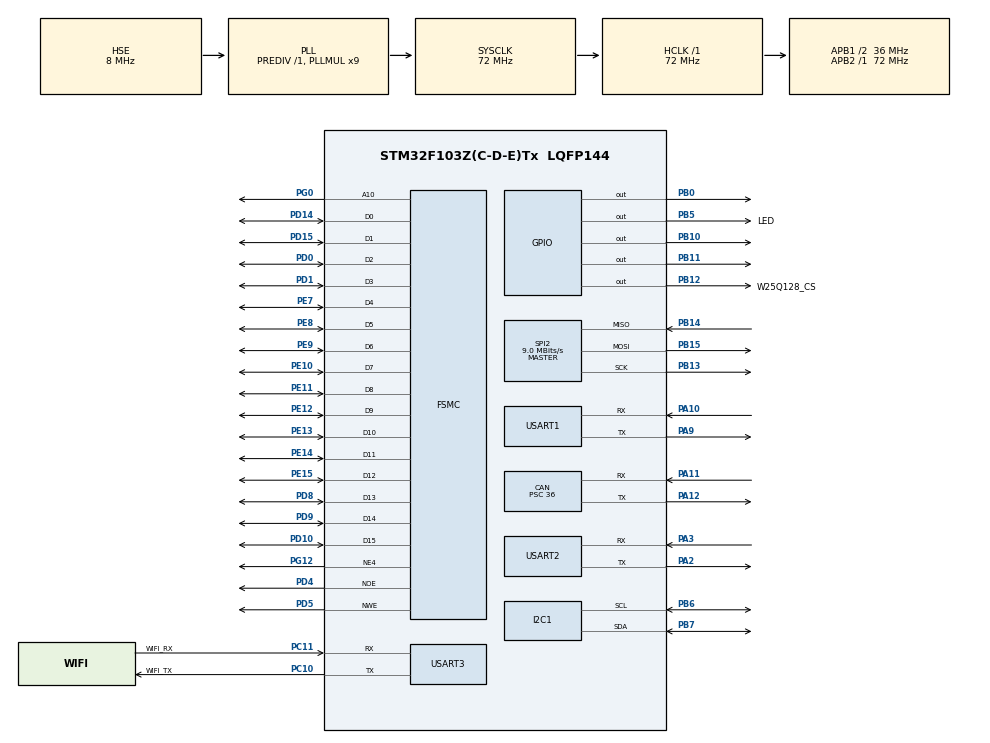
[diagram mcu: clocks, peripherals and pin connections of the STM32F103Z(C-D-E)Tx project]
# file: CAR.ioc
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CAN.ABOM=ENABLE
CAN.AWUM=ENABLE
CAN.BS1=CAN_BS1_2TQ
CAN.BS2=CAN_BS2_3TQ
CAN.CalculateBaudRate=166666
CAN.CalculateTimeBit=6000
CAN.CalculateTimeQuantum=1000.0
CAN.Mode=CAN_MODE_NORMAL
CAN.Prescaler=36
Dma.Request0=USART3_RX
Dma.USART3_RX.0.Direction=DMA_PERIPH_TO_MEMORY
Dma.USART3_RX.0.Instance=DMA1_Channel3
Dma.USART3_RX.0.MemDataAlignment=DMA_MDATAALIGN_BYTE
Dma.USART3_RX.0.MemInc=DMA_MINC_ENABLE
Dma.USART3_RX.0.Mode=DMA_NORMAL
Dma.USART3_RX.0.PeriphDataAlignment=DMA_PDATAALIGN_BYTE
Dma.USART3_RX.0.PeriphInc=DMA_PINC_DISABLE
Dma.USART3_RX.0.Priority=DMA_PRIORITY_LOW
FREERTOS.Tasks01=defaultTask,24,128,StartDefaultTask,Default,NULL,Dynamic,NULL,NULL
FREERTOS.configTOTAL_HEAP_SIZE=32000
FREERTOS.configUSE_IDLE_HOOK=1
FSMC.AddressSetupTime1=0
FSMC.BusTurnAroundDuration1=0
FSMC.DataSetupTime1=26
FSMC.ExtendedAddressSetupTime1=0
FSMC.ExtendedBusTurnAroundDuration1=0
FSMC.ExtendedDataSetupTime1=1
FSMC.ExtendedMode1=FSMC_EXTENDED_MODE_ENABLE
Mcu.Family=STM32F1
Mcu.Name=STM32F103Z(C-D-E)Tx
Mcu.Package=LQFP144
NVIC.CAN1_RX1_IRQn=true\:6\:0\:true\:false\:true\:true\:true\:true\:true
NVIC.DMA1_Channel3_IRQn=true\:5\:0\:false\:false\:true\:true\:false\:true\:true
NVIC.PriorityGroup=NVIC_PRIORITYGROUP_4
NVIC.TIM4_IRQn=true\:15\:0\:false\:false\:true\:false\:false\:true\:true
NVIC.TimeBase=TIM4_IRQn
NVIC.TimeBaseIP=TIM4
NVIC.USART1_IRQn=true\:8\:0\:true\:false\:true\:true\:true\:true\:true
NVIC.USART2_IRQn=true\:9\:0\:true\:false\:true\:true\:true\:true\:true
NVIC.USART3_IRQn=true\:6\:0\:true\:false\:true\:true\:true\:true\:true
NVIC.USB_LP_CAN1_RX0_IRQn=true\:6\:0\:true\:false\:true\:true\:true\:true\:true
OSC_IN.Mode=HSE-External-Oscillator
OSC_IN.Signal=RCC_OSC_IN
OSC_OUT.Mode=HSE-External-Oscillator
OSC_OUT.Signal=RCC_OSC_OUT
PA10.Mode=Asynchronous
PA10.Signal=USART1_RX
PA11.Mode=CAN_Activate
PA11.Signal=CAN_RX
PA12.Mode=CAN_Activate
PA12.Signal=CAN_TX
PA13.Mode=Serial_Wire
PA13.Signal=SYS_JTMS-SWDIO
PA14.Mode=Serial_Wire
PA14.Signal=SYS_JTCK-SWCLK
PA2.Mode=Asynchronous
PA2.Signal=USART2_TX
PA3.Mode=Asynchronous
PA3.Signal=USART2_RX
PA9.Mode=Asynchronous
PA9.Signal=USART1_TX
PB0.GPIO_Speed=GPIO_SPEED_FREQ_HIGH
PB0.Signal=GPIO_Output
PB10.GPIO_ModeDefaultOutputPP=GPIO_MODE_OUTPUT_OD
PB10.GPIO_PuPd=GPIO_PULLUP
PB10.GPIO_Speed=GPIO_SPEED_FREQ_HIGH
PB10.PinState=GPIO_PIN_SET
PB10.Signal=GPIO_Output
PB11.GPIO_ModeDefaultOutputPP=GPIO_MODE_OUTPUT_OD
PB11.GPIO_PuPd=GPIO_PULLUP
PB11.GPIO_Speed=GPIO_SPEED_FREQ_HIGH
PB11.Signal=GPIO_Output
PB12.GPIO_Label=W25Q128_CS
PB12.GPIO_Speed=GPIO_SPEED_FREQ_HIGH
PB12.PinState=GPIO_PIN_SET
PB12.Signal=GPIO_Output
PB13.Mode=Full_Duplex_Master
PB13.Signal=SPI2_SCK
PB14.Mode=Full_Duplex_Master
PB14.Signal=SPI2_MISO
PB15.Mode=Full_Duplex_Master
PB15.Signal=SPI2_MOSI
PB5.GPIO_Label=LED
PB5.GPIO_ModeDefaultOutputPP=GPIO_MODE_OUTPUT_PP
PB5.GPIO_PuPd=GPIO_PULLDOWN
PB5.PinState=GPIO_PIN_SET
PB5.Signal=GPIO_Output
PB6.Mode=I2C
PB6.Signal=I2C1_SCL
PB7.Mode=I2C
PB7.Signal=I2C1_SDA
PC10.GPIO_Label=WIFI_TX
PC10.Mode=Asynchronous
PC10.Signal=USART3_TX
PC11.GPIO_Label=WIFI_RX
PC11.Mode=Asynchronous
PC11.Signal=USART3_RX
PC14-OSC32_IN.Mode=LSE-External-Oscillator
PC14-OSC32_IN.Signal=RCC_OSC32_IN
PC15-OSC32_OUT.Mode=LSE-External-Oscillator
PC15-OSC32_OUT.Signal=RCC_OSC32_OUT
PD0.Signal=FSMC_D2_DA2
PD1.Signal=FSMC_D3_DA3
PD10.Signal=FSMC_D15_DA15
PD14.Signal=FSMC_D0_DA0
PD15.Signal=FSMC_D1_DA1
PD4.Signal=FSMC_NOE
PD5.Signal=FSMC_NWE
PD8.Signal=FSMC_D13_DA13
PD9.Signal=FSMC_D14_DA14
PE10.Signal=FSMC_D7_DA7
PE11.Signal=FSMC_D8_DA8
PE12.Signal=FSMC_D9_DA9
PE13.Signal=FSMC_D10_DA10
PE14.Signal=FSMC_D11_DA11
PE15.Signal=FSMC_D12_DA12
PE7.Signal=FSMC_D4_DA4
PE8.Signal=FSMC_D5_DA5
PE9.Signal=FSMC_D6_DA6
PG0.Signal=FSMC_A10
PG12.Mode=NorPsramChipSelect4_1
PG12.Signal=FSMC_NE4
ProjectManager.HeapSize=0x200
ProjectManager.StackSize=0x400
ProjectManager.TargetToolchain=MDK-ARM V5.32
RCC.AHBFreq_Value=72000000
RCC.APB1CLKDivider=RCC_HCLK_DIV2
RCC.APB1Freq_Value=36000000
RCC.APB1TimFreq_Value=72000000
RCC.APB2Freq_Value=72000000
RCC.APB2TimFreq_Value=72000000
RCC.HCLKFreq_Value=72000000
RCC.PLLMUL=RCC_PLL_MUL9
RCC.PLLSourceVirtual=RCC_PLLSOURCE_HSE
RCC.SYSCLKFreq_VALUE=72000000
RCC.SYSCLKSource=RCC_SYSCLKSOURCE_PLLCLK
RCC.USBFreq_Value=72000000
SH.FSMC_A10.0=FSMC_A10,A10_1
SH.FSMC_D0_DA0.0=FSMC_D0,16b-d1
SH.FSMC_D10_DA10.0=FSMC_D10,16b-d1
SH.FSMC_D11_DA11.0=FSMC_D11,16b-d1
SH.FSMC_D12_DA12.0=FSMC_D12,16b-d1
SH.FSMC_D13_DA13.0=FSMC_D13,16b-d1
SH.FSMC_D14_DA14.0=FSMC_D14,16b-d1
SH.FSMC_D15_DA15.0=FSMC_D15,16b-d1
SH.FSMC_D1_DA1.0=FSMC_D1,16b-d1
SH.FSMC_D2_DA2.0=FSMC_D2,16b-d1
SH.FSMC_D3_DA3.0=FSMC_D3,16b-d1
SH.FSMC_D4_DA4.0=FSMC_D4,16b-d1
SH.FSMC_D5_DA5.0=FSMC_D5,16b-d1
SH.FSMC_D6_DA6.0=FSMC_D6,16b-d1
SH.FSMC_D7_DA7.0=FSMC_D7,16b-d1
SH.FSMC_D8_DA8.0=FSMC_D8,16b-d1
SH.FSMC_D9_DA9.0=FSMC_D9,16b-d1
SH.FSMC_NOE.0=FSMC_NOE,Lcd1
SH.FSMC_NWE.0=FSMC_NWE,Lcd1
SPI2.BaudRatePrescaler=SPI_BAUDRATEPRESCALER_4
SPI2.CalculateBaudRate=9.0 MBits/s
SPI2.Direction=SPI_DIRECTION_2LINES
SPI2.Mode=SPI_MODE_MASTER
SPI2.VirtualType=VM_MASTER
USART1.VirtualMode=VM_ASYNC
USART2.VirtualMode=VM_ASYNC
USART3.VirtualMode=VM_ASYNC
VP_CRC_VS_CRC.Mode=CRC_Activate
VP_FREERTOS_VS_CMSIS_V2.Mode=CMSIS_V2
VP_SYS_VS_tim4.Mode=TIM4
board=custom

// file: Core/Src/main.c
/* USER CODE BEGIN Header */
/**
  ******************************************************************************
  * @file           : main.c
  * @brief          : Main program body
  ******************************************************************************
  * @attention
  *
  * Copyright (c) 2026 STMicroelectronics.
  * All rights reserved.
  *
  * This software is licensed under terms that can be found in the LICENSE file
  * in the root directory of this software component.
  * If no LICENSE file comes with this software, it is provided AS-IS.
  *
  ******************************************************************************
  */
/* USER CODE END Header */
#include "main.h"
#include "cmsis_os.h"
#include "can.h"
#include "crc.h"
#include "dma.h"
#include "i2c.h"
#include "spi.h"
#include "usart.h"
#include "gpio.h"
#include "fsmc.h"

/* USER CODE BEGIN Includes */
#include "OLED.h"
#include "platform_esp8266_AT.h"
#include "lvgl.h"

#include <string.h>
/* USER CODE END Includes */

void SystemClock_Config(void);
void MX_FREERTOS_Init(void);

int main(void)
{

  /* USER CODE BEGIN 1 */
	__enable_irq();
  /* USER CODE END 1 */

  /* MCU Configuration--------------------------------------------------------*/

  /* Reset of all peripherals, Initializes the Flash interface and the Systick. */
  HAL_Init();

  /* Configure the system clock */
  SystemClock_Config();

  /* Initialize all configured peripherals */
  MX_GPIO_Init();
  MX_DMA_Init();
  MX_CAN_Init();
  MX_USART3_UART_Init();
  MX_USART1_UART_Init();
  MX_USART2_UART_Init();
  MX_FSMC_Init();
  MX_I2C1_Init();
  MX_SPI2_Init();
  MX_CRC_Init();
  /* USER CODE BEGIN 2 */

  OLED_Init();
  HAL_CAN_Start(&hcan);
  CAN_FilterConfig();

  /* USER CODE END 2 */

  /* Init scheduler */
  osKernelInitialize();  /* Call init function for freertos objects (in cmsis_os2.c) */
  MX_FREERTOS_Init();

  /* Start scheduler */
  osKernelStart();

  /* We should never get here as control is now taken by the scheduler */

  /* Infinite loop */
  /* USER CODE BEGIN WHILE */
  while (1)
  {
    printf("hello world\r\n");
    HAL_Delay(1000);

    /* USER CODE END WHILE */

  }
}

void SystemClock_Config(void)
{
  RCC_OscInitTypeDef RCC_OscInitStruct = {0};
  RCC_ClkInitTypeDef RCC_ClkInitStruct = {0};

  /** Initializes the RCC Oscillators according to the specified parameters
  * in the RCC_OscInitTypeDef structure.
  */
  RCC_OscInitStruct.OscillatorType = RCC_OSCILLATORTYPE_HSE;
  RCC_OscInitStruct.HSEState = RCC_HSE_ON;
  RCC_OscInitStruct.HSEPredivValue = RCC_HSE_PREDIV_DIV1;
  RCC_OscInitStruct.HSIState = RCC_HSI_ON;
  RCC_OscInitStruct.PLL.PLLState = RCC_PLL_ON;
  RCC_OscInitStruct.PLL.PLLSource = RCC_PLLSOURCE_HSE;
  RCC_OscInitStruct.PLL.PLLMUL = RCC_PLL_MUL9;
  if (HAL_RCC_OscConfig(&RCC_OscInitStruct) != HAL_OK)
  {
    Error_Handler();
  }

  /** Initializes the CPU, AHB and APB buses clocks
  */
  RCC_ClkInitStruct.ClockType = RCC_CLOCKTYPE_HCLK|RCC_CLOCKTYPE_SYSCLK
                              |RCC_CLOCKTYPE_PCLK1|RCC_CLOCKTYPE_PCLK2;
  RCC_ClkInitStruct.SYSCLKSource = RCC_SYSCLKSOURCE_PLLCLK;
  RCC_ClkInitStruct.AHBCLKDivider = RCC_SYSCLK_DIV1;
  RCC_ClkInitStruct.APB1CLKDivider = RCC_HCLK_DIV2;
  RCC_ClkInitStruct.APB2CLKDivider = RCC_HCLK_DIV1;

  if (HAL_RCC_ClockConfig(&RCC_ClkInitStruct, FLASH_LATENCY_2) != HAL_OK)
  {
    Error_Handler();
  }
}

void HAL_TIM_PeriodElapsedCallback(TIM_HandleTypeDef *htim)
{
  if (htim->Instance == TIM4)
  {
    HAL_IncTick();
  }
}

void Error_Handler(void)
{
  __disable_irq();
  while (1)
  {
  }
}

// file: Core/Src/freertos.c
/* USER CODE BEGIN Header */
/**
  ******************************************************************************
  * File Name          : freertos.c
  * Description        : Code for freertos applications
  ******************************************************************************
  * @attention
  *
  * Copyright (c) 2026 STMicroelectronics.
  * All rights reserved.
  *
  * This software is licensed under terms that can be found in the LICENSE file
  * in the root directory of this software component.
  * If no LICENSE file comes with this software, it is provided AS-IS.
  *
  ******************************************************************************
  */
/* USER CODE END Header */

#include "FreeRTOS.h"
#include "task.h"
#include "main.h"
#include "cmsis_os.h"

/* USER CODE BEGIN Includes */
#include "stm32f1xx_hal.h"
#include "can.h"
#include "usart.h"
#include "string.h"
#include "OLED.h"
#include "queue.h"
#include "platform_esp8266_AT.h"
#include "mqtt_config.h"
#include "mqtt_log.h"
#include "mqttclient.h"
#include "demo.h"
#include "lvgl.h"
#include "lv_port_lcd_stm32.h"
#include "lv_port_indev.h"
#include "atk_md0280.h"
#include "ui.h"
/* USER CODE END Includes */

/* USER CODE BEGIN PM */
void oled_task(void * pvParameters );
void can_task(void * pvParameters );
void MQTT_Task(void*parm);
void voice_task(void * pvParameters );
void lvgl_demo_task(void * pvParameters );
/* USER CODE END PM */

/* USER CODE BEGIN Variables */
TaskHandle_t  oled_handler;
TaskHandle_t  can_handler;

TaskHandle_t  voice_handler;
TaskHandle_t AT_pars_handle;//AT指令分析任务句柄

QueueHandle_t can_rx_queue;
QueueHandle_t mqtt_can_rx_queue;//服务器接收can消息
QueueHandle_t voice_rx_queue;
extern uint8_t g_uart3_rx_char;   //串口3接收数据变量
/* USER CODE END Variables */
/* Definitions for defaultTask */
osThreadId_t defaultTaskHandle;
const osThreadAttr_t defaultTask_attributes = {
  .name = "defaultTask",
  .stack_size = 128 * 4,
  .priority = (osPriority_t) osPriorityNormal,
};

void StartDefaultTask(void *argument);

void MX_FREERTOS_Init(void); /* (MISRA C 2004 rule 8.1) */

/* Hook prototypes */
void vApplicationIdleHook(void);

/* USER CODE BEGIN 2 */
//static char g_task_infor[200];
//void vApplicationIdleHook(void)
//{
//	vTaskList(g_task_infor);
//		for(int i = 0 ;i<16;i++)
//	{
//		printf("-");
//	}
//	printf("\n\r\n\r");
//	printf("%s\n\r",g_task_infor);
//}
/* USER CODE END 2 */

void MX_FREERTOS_Init(void) {
  /* USER CODE BEGIN Init */
	AT_Init();//AT命令相关程序初始化
  /* USER CODE END Init */

  /* Create the thread(s) */
  /* creation of defaultTask */
  defaultTaskHandle = osThreadNew(StartDefaultTask, NULL, &defaultTask_attributes);

}

void StartDefaultTask(void *argument)
{
  /* USER CODE BEGIN StartDefaultTask */
  BaseType_t ret;
	 // 进入临界区
  taskENTER_CRITICAL();
	ret = xTaskCreate(oled_task,"oled_task",200,NULL,15,&oled_handler);
  if(ret != pdPASS)
  {
     printf("oled_task create failed!\r\n");
  }
	ret = xTaskCreate(can_task,"can_task",128,NULL,13,&can_handler);
  if(ret != pdPASS)
  {
     printf("can_task create failed!\r\n");
  }
  // ret = xTaskCreate(demo_run,"demo_run",1000,NULL,14,NULL);
  // if(ret != pdPASS)
  // {
  //    printf("demo_run create failed!\r\n");
  // }
  ret = xTaskCreate(lvgl_demo_task,"lvgl_demo",1024,NULL,14,NULL);
  if(ret != pdPASS)
  {
     printf("lvgl_demo_task create failed!\r\n");
  }
//  ret = xTaskCreate(AT_Parse,"AT_parse",68,NULL,15,&AT_pars_handle);
//  if(ret != pdPASS)
//  {
//     printf("AT_parse create failed!\r\n");
//  }
//	ret = xTaskCreate(MQTT_Task,"MQTT_Task",200,NULL,15,NULL);
//  if(ret != pdPASS)
//  {
//     printf("MQTT_Task create failed!\r\n");
//  }
	xTaskCreate(voice_task,"voice_task",128,NULL,14,&voice_handler);

	can_rx_queue = xQueueCreate(5, sizeof(CanMsg_t));
  mqtt_can_rx_queue = xQueueCreate(5, sizeof(CanMsg_t)); //在can接收中断队列
	voice_rx_queue = xQueueCreate(5, sizeof(uint8_t));
   // 退出临界区
  taskEXIT_CRITICAL();
	vTaskDelete(NULL);
  /* Infinite loop */
  for(;;)
  {
    osDelay(1);
  }
  /* USER CODE END StartDefaultTask */
}

/* USER CODE BEGIN Application */

void oled_task(void * pvParameters )  //can_rx
{
	CanMsg_t msg;
	OLED_Printf(0,0, OLED_8X16,"车灯:");
	OLED_Printf(0,16,OLED_8X16,"车窗:");
	OLED_Printf(0,32,OLED_8X16,"天窗:");
	OLED_Printf(0,48,OLED_8X16,"车门:");
	OLED_Update();

	while(1)
	{
		while(xQueueReceive(can_rx_queue, &msg, portMAX_DELAY) != pdPASS);
		if(msg.stdID==0x666)
		{
			if(msg.data[2]==0x01)
			{
				OLED_ClearArea(40,0,32,16);
				OLED_Printf(40,0,OLED_8X16,"开启");
				OLED_UpdateArea(40,0,32,16);
			}
			else if(msg.data[2]==0x02)
			{
				OLED_ClearArea(40,0,32,16);
				OLED_Printf(40,0,OLED_8X16,"关闭");
				OLED_UpdateArea(40,0,32,16);
			}
			else if(msg.data[2]==0x03)
			{
				OLED_ClearArea(40,16,32,16);
				OLED_Printf(40,16,OLED_8X16,"开启");
				OLED_UpdateArea(40,16,32,16);
			}
			else if(msg.data[2]==0x04)
			{
				OLED_ClearArea(40,16,32,16);
				OLED_Printf(40,16,OLED_8X16,"关闭");
				OLED_UpdateArea(40,16,32,16);
			}
			else if(msg.data[2]==0x05)
			{
				OLED_ClearArea(40,32,32,16);
				OLED_Printf(40,32,OLED_8X16,"开启");
				OLED_UpdateArea(40,32,32,16);
			}
			else if(msg.data[2]==0x06)
			{
				OLED_ClearArea(40,32,32,16);
				OLED_Printf(40,32,OLED_8X16,"关闭");
				OLED_UpdateArea(40,32,32,16);
			}
		}
		else if(msg.stdID==0x555)
		{
			if(msg.data[2]==0x07)
			{
				OLED_ClearArea(40,48,32,16);
				OLED_Printf(40,48,OLED_8X16,"开启");
				OLED_UpdateArea(40,48,32,16);
			}
			else if(msg.data[2]==0x08)
			{
				OLED_ClearArea(40,48,32,16);
				OLED_Printf(40,48,OLED_8X16,"关闭");
				OLED_UpdateArea(40,48,32,16);
		  }
		}
		//vTaskDelay(1000);
	}
}

void can_task(void * pvParameters )
{
  printf("send test ...\n");
	// 发送报文
//	uint32_t stdID = 0x77f;
//	uint16_t stdID2 =0x768;
//	uint8_t * data = "abdc";
//  uint8_t * data2 = "111";
//	// 定义发送数据缓冲区，在基本信息的基础上拼接一个数字
//	uint8_t buffer[10] ={0} ;
//	uint32_t i = 10;
	while(1)
	{
    // 拼接要发送的报文信息
		HAL_GPIO_TogglePin(GPIOB, GPIO_PIN_5);
		//CAN_SendMsg(stdID, data, strlen((char *)data));
		//CAN_SendMsg(stdID2, data2, strlen((char *)data2));
		//printf("send ok...\r\n");
		// 每隔1s发送一次报文
		  vTaskDelay(1000);
	}
}

void voice_task(void * pvParameters ) //can_tx
{
	uint16_t stdID = 0x77f;
	uint16_t stdID2 = 0X7bf;
	uint8_t pdata[3]={0xaa,0x11,0};
	uint8_t data=0;
	while(1)
	{
		while((xQueueReceive( voice_rx_queue,&data ,portMAX_DELAY) != pdPASS));
		pdata[2]=data;
		if(pdata[2]==0x01|pdata[2]==0x02|pdata[2]==0x03|pdata[2]==0x04|pdata[2]==0x05|pdata[2]==0x06)
		{
			CAN_SendMsg(stdID, pdata, strlen((char *)pdata));
		}
		else if(pdata[2]==0x07|pdata[2]==0x08)
		{
			CAN_SendMsg(stdID2, pdata, strlen((char *)pdata));
		}
			//vTaskDelay(1000);
	}
}

static void MQTTSmart_handler(void* client, message_data_t* msg)
{
	uint16_t stdID = 0x77f;
	uint16_t stdID2 = 0X7bf;
	uint8_t pdata[3]={0xaa,0x11,0};
	(void) client;
	MQTT_LOG_I("-----------------------------------------------------------------------------------");
	MQTT_LOG_I("%s:%d %s()...\ntopic: %s\nmessage:%s", __FILE__, __LINE__, __FUNCTION__, msg->topic_name, (char*)msg->message->payload);
	MQTT_LOG_I("-----------------------------------------------------------------------------------");
	/*消息处理函数 eg.{led_on}*/
	if(strstr((char*)msg->message->payload,"打开车门"))
	{
		pdata[2]=0x07;
		CAN_SendMsg(stdID2, pdata, strlen((char *)pdata));
	}
	else if(strstr((char*)msg->message->payload,"关闭车门"))
	{
		pdata[2]=0x08;
		CAN_SendMsg(stdID2, pdata, strlen((char *)pdata));
	}
	else if(strstr((char*)msg->message->payload,"打开车灯"))
	{
		pdata[2]=0x01;
		CAN_SendMsg(stdID, pdata, strlen((char *)pdata));
	}
	else if(strstr((char*)msg->message->payload,"关闭车灯"))
	{
		pdata[2]=0x02;
		CAN_SendMsg(stdID, pdata, strlen((char *)pdata));
	}
	else if(strstr((char*)msg->message->payload,"打开车窗"))
	{
		pdata[2]=0x03;
		CAN_SendMsg(stdID, pdata, strlen((char *)pdata));
	}
	else if(strstr((char*)msg->message->payload,"关闭车窗"))
	{
		pdata[2]=0x04;
		CAN_SendMsg(stdID, pdata, strlen((char *)pdata));
	}
	else if(strstr((char*)msg->message->payload,"打开天窗"))
	{
		pdata[2]=0x05;
		CAN_SendMsg(stdID, pdata, strlen((char *)pdata));
	}
	else if(strstr((char*)msg->message->payload,"关闭天窗"))
	{
		pdata[2]=0x06;
		CAN_SendMsg(stdID, pdata, strlen((char *)pdata));
	}
}

void MQTT_Task(void*parm)
{
    int res;
    mqtt_client_t *client = NULL;

    printf("\nwelcome to mqttclient test...\r\n");
		HAL_UART_Receive_IT(&huart3,&g_uart3_rx_char, 1); //开串口中断

    mqtt_log_init();

    client = mqtt_lease();
	mqtt_set_port(client, "1883");  //修改服务器端口

    mqtt_set_host(client, "10.60.14.76");  //修改服务器IP
    mqtt_set_client_id(client, random_string(10));
    mqtt_set_user_name(client, random_string(10));
    mqtt_set_password(client, random_string(10));
    mqtt_set_clean_session(client, 1);

    res = mqtt_connect(client);
		if(MQTT_SUCCESS_ERROR != res)
		{
			printf("MQTT Broker connect failed\r\n");
		}

    res =mqtt_subscribe(client, "MQTTSmart", QOS0, MQTTSmart_handler);
    if(MQTT_SUCCESS_ERROR != res)
		{
			printf("MQTT Broker subscribe topic1 failed\r\n");
		}

    CanMsg_t msg;
	mqtt_message_t mqtt_msg;
	mqtt_msg.qos = 0;

		while(1)
		{
			while(xQueueReceive(mqtt_can_rx_queue, &msg, portMAX_DELAY) != pdPASS);
			if(msg.stdID==0x666)
			{
				if(msg.data[2]==0x01)
				{
					mqtt_msg.payload = "车灯：开启\r\n";
					mqtt_msg.payloadlen = strlen(mqtt_msg.payload);
					mqtt_publish(client, "mcu_test", &mqtt_msg);
				}
				else if(msg.data[2]==0x02)
				{
					mqtt_msg.payload = "车灯：关闭\r\n";
					mqtt_msg.payloadlen = strlen(mqtt_msg.payload);
					mqtt_publish(client, "mcu_test", &mqtt_msg);
				}
				else if(msg.data[2]==0x03)
				{
					mqtt_msg.payload = "车窗：开启\r\n";
					mqtt_msg.payloadlen = strlen(mqtt_msg.payload);
					mqtt_publish(client, "mcu_test", &mqtt_msg);
				}
				else if(msg.data[2]==0x04)
				{
					mqtt_msg.payload = "车窗：关闭\r\n";
					mqtt_msg.payloadlen = strlen(mqtt_msg.payload);
					mqtt_publish(client, "mcu_test", &mqtt_msg);
				}
				else if(msg.data[2]==0x05)
				{
					mqtt_msg.payload = "天窗：开启\r\n";
					mqtt_msg.payloadlen = strlen(mqtt_msg.payload);
					mqtt_publish(client, "mcu_test", &mqtt_msg);
				}
				else if(msg.data[2]==0x06)
				{
					mqtt_msg.payload = "天窗：关闭\r\n";
					mqtt_msg.payloadlen = strlen(mqtt_msg.payload);
					mqtt_publish(client, "mcu_test", &mqtt_msg);
				}
			}
			else if(msg.stdID==0x555)
			{
				if(msg.data[2]==0x07)
				{
					mqtt_msg.payload = "车门：开启\r\n";
					mqtt_msg.payloadlen = strlen(mqtt_msg.payload);
					mqtt_publish(client, "mcu_test", &mqtt_msg);
				}
				else if(msg.data[2]==0x08)
				{
					mqtt_msg.payload = "车门：关闭\r\n";
					mqtt_msg.payloadlen = strlen(mqtt_msg.payload);
					mqtt_publish(client, "mcu_test", &mqtt_msg);
				}
			}
//			mqtt_publish(client, "mcu_test", &msg);
			// vTaskDelay(3000);
		}
}
/**
 * @brief LVGL demo task: initializes LVGL and runs the widgets demo
 * @param pvParameters Not used
 */
void lvgl_demo_task(void *pvParameters)
{
    uint8_t ret;

    /* 1. Initialize ATK-MD0280 LCD hardware (FSMC + touch calibration) */
    ret = atk_md0280_init();
    if (ret != ATK_MD0280_EOK)
    {
        printf("ATK-MD0280 init failed!\r\n");
        while (1)
        {
            vTaskDelay(1000);
        }
    }
    printf("ATK-MD0280 initialized OK\r\n");

    /* 2. Initialize LVGL core */
    lv_init();

    /* 3. Initialize LCD display port */
    lv_port_disp_init();

    /* 4. Initialize touch input port */
    lv_port_indev_init();

    /* 5. Create UI */
    ui_init();
    printf("LVGL UI started\r\n");

    /* 6. Main loop: call LVGL timer handler periodically */
    while (1)
    {
        /* LVGL timer handler must be called regularly (every few ms) */
        lv_timer_handler();
        vTaskDelay(pdMS_TO_TICKS(5));
    }
}

/* USER CODE END Application */
